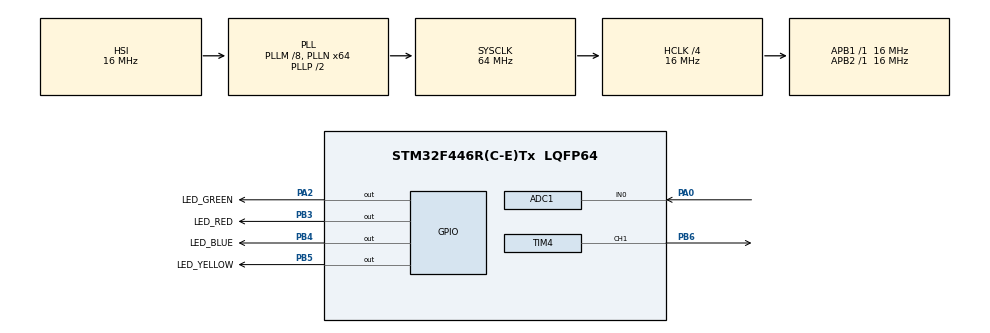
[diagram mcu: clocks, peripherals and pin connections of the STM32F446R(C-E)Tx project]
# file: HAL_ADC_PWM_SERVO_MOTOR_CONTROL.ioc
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ADC1.Channel-0\#ChannelRegularConversion=ADC_CHANNEL_0
ADC1.ContinuousConvMode=ENABLE
ADC1.NbrOfConversionFlag=1
ADC1.Rank-0\#ChannelRegularConversion=1
ADC1.Resolution=ADC_RESOLUTION_10B
ADC1.SamplingTime-0\#ChannelRegularConversion=ADC_SAMPLETIME_144CYCLES
ADC1.master=1
Mcu.Family=STM32F4
Mcu.Name=STM32F446R(C-E)Tx
Mcu.Package=LQFP64
NVIC.ADC_IRQn=true\:0\:0\:false\:false\:true\:true\:true
NVIC.PriorityGroup=NVIC_PRIORITYGROUP_4
PA0-WKUP.Signal=ADCx_IN0
PA2.GPIO_Label=LED_GREEN
PA2.Signal=GPIO_Output
PB3.GPIO_Label=LED_RED
PB3.Signal=GPIO_Output
PB4.GPIO_Label=LED_BLUE
PB4.Signal=GPIO_Output
PB5.GPIO_Label=LED_YELLOW
PB5.Signal=GPIO_Output
PB6.Signal=S_TIM4_CH1
PC14-OSC32_IN.Mode=LSE-External-Oscillator
PC14-OSC32_IN.Signal=RCC_OSC32_IN
PC15-OSC32_OUT.Mode=LSE-External-Oscillator
PC15-OSC32_OUT.Signal=RCC_OSC32_OUT
ProjectManager.HeapSize=0x200
ProjectManager.StackSize=0x400
ProjectManager.TargetToolchain=MDK-ARM V5
RCC.AHBCLKDivider=RCC_SYSCLK_DIV4
RCC.AHBFreq_Value=16000000
RCC.APB1Freq_Value=16000000
RCC.APB1TimFreq_Value=16000000
RCC.APB2Freq_Value=16000000
RCC.APB2TimFreq_Value=16000000
RCC.CortexFreq_Value=16000000
RCC.HCLKFreq_Value=16000000
RCC.PLLM=8
RCC.PLLN=64
RCC.SYSCLKFreq_VALUE=64000000
RCC.SYSCLKSource=RCC_SYSCLKSOURCE_PLLCLK
RCC.USBFreq_Value=64000000
RCC.VCOOutputFreq_Value=128000000
SH.ADCx_IN0.0=ADC1_IN0,IN0
SH.S_TIM4_CH1.0=TIM4_CH1,PWM Generation1 CH1
TIM4.Channel-PWM\ Generation1\ CH1=TIM_CHANNEL_1
TIM4.Period=1799
TIM4.Prescaler=178
TIM4.Pulse-PWM\ Generation1\ CH1=0
VP_TIM4_VS_ClockSourceINT.Mode=Internal
board=custom

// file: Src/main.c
/* USER CODE BEGIN Header */
/**
  ******************************************************************************
  * @file           : main.c
  * @brief          : Main program body
  ******************************************************************************
  * @attention
  *
  * <h2><center>&copy; Copyright (c) 2020 STMicroelectronics.
  * All rights reserved.</center></h2>
  *
  * This software component is licensed by ST under BSD 3-Clause license,
  * the "License"; You may not use this file except in compliance with the
  * License. You may obtain a copy of the License at:
  *                        opensource.org/licenses/BSD-3-Clause
  *
  ******************************************************************************
  */
/* USER CODE END Header */

#include "main.h"

ADC_HandleTypeDef hadc1;

TIM_HandleTypeDef htim4;

/* USER CODE BEGIN PV */
	uint16_t	adc_value	=	0	,	duty_cycle	=	0	,	angle	=	0	;
/* USER CODE END PV */

void SystemClock_Config(void);
static void MX_GPIO_Init(void);
static void MX_TIM4_Init(void);
static void MX_ADC1_Init(void);
/* USER CODE BEGIN PFP */

	uint32_t	map	(long	DATA	,	long	DATA_min	,	long	DATA_max	,	long	New_DATA_min	,	long	New_DATA_max	)		//	Map function

	{
		return	((DATA-DATA_min)*(New_DATA_max-New_DATA_min))/(DATA_max-DATA_min)	+	New_DATA_min	;

	}

	void con_angle()

	{
		angle	=	map(adc_value	,	0	,1023	,	0	,	180	)	;
		if(angle>180)
			angle=180	;

		angle	+=	45	;

	}

	void HAL_ADC_ConvCpltCallback(ADC_HandleTypeDef* hadc)
	{
		if(__HAL_ADC_GET_FLAG(&hadc1,ADC_FLAG_EOC)	!=	RESET	)

		{
			adc_value	=	HAL_ADC_GetValue(&hadc1)	;

		}

	}

/* USER CODE END PFP */

int main(void)
{

  /* MCU Configuration--------------------------------------------------------*/

  /* Reset of all peripherals, Initializes the Flash interface and the Systick. */
  HAL_Init();

  /* Configure the system clock */
  SystemClock_Config();

  /* Initialize all configured peripherals */
  MX_GPIO_Init();
  MX_TIM4_Init();
  MX_ADC1_Init();
  /* USER CODE BEGIN 2 */
	HAL_TIM_PWM_Start(&htim4,TIM_CHANNEL_1)	;
	HAL_ADC_Start_IT(&hadc1)	;

  /* USER CODE END 2 */

  /* Infinite loop */
  /* USER CODE BEGIN WHILE */
  while (1)
  {
				con_angle()	;

				duty_cycle	=	angle	;

				__HAL_TIM_SetCompare(&htim4,TIM_CHANNEL_1,duty_cycle)	;

				HAL_Delay(10)	;

    /* USER CODE END WHILE */

  }
}

void SystemClock_Config(void)
{
  RCC_OscInitTypeDef RCC_OscInitStruct = {0};
  RCC_ClkInitTypeDef RCC_ClkInitStruct = {0};

  /** Configure the main internal regulator output voltage
  */
  __HAL_RCC_PWR_CLK_ENABLE();
  __HAL_PWR_VOLTAGESCALING_CONFIG(PWR_REGULATOR_VOLTAGE_SCALE3);
  /** Initializes the CPU, AHB and APB busses clocks
  */
  RCC_OscInitStruct.OscillatorType = RCC_OSCILLATORTYPE_HSI;
  RCC_OscInitStruct.HSIState = RCC_HSI_ON;
  RCC_OscInitStruct.HSICalibrationValue = RCC_HSICALIBRATION_DEFAULT;
  RCC_OscInitStruct.PLL.PLLState = RCC_PLL_ON;
  RCC_OscInitStruct.PLL.PLLSource = RCC_PLLSOURCE_HSI;
  RCC_OscInitStruct.PLL.PLLM = 8;
  RCC_OscInitStruct.PLL.PLLN = 64;
  RCC_OscInitStruct.PLL.PLLP = RCC_PLLP_DIV2;
  RCC_OscInitStruct.PLL.PLLQ = 2;
  RCC_OscInitStruct.PLL.PLLR = 2;
  if (HAL_RCC_OscConfig(&RCC_OscInitStruct) != HAL_OK)
  {
    Error_Handler();
  }
  /** Initializes the CPU, AHB and APB busses clocks
  */
  RCC_ClkInitStruct.ClockType = RCC_CLOCKTYPE_HCLK|RCC_CLOCKTYPE_SYSCLK
                              |RCC_CLOCKTYPE_PCLK1|RCC_CLOCKTYPE_PCLK2;
  RCC_ClkInitStruct.SYSCLKSource = RCC_SYSCLKSOURCE_PLLCLK;
  RCC_ClkInitStruct.AHBCLKDivider = RCC_SYSCLK_DIV4;
  RCC_ClkInitStruct.APB1CLKDivider = RCC_HCLK_DIV1;
  RCC_ClkInitStruct.APB2CLKDivider = RCC_HCLK_DIV1;

  if (HAL_RCC_ClockConfig(&RCC_ClkInitStruct, FLASH_LATENCY_0) != HAL_OK)
  {
    Error_Handler();
  }
}

static void MX_ADC1_Init(void)
{

  ADC_ChannelConfTypeDef sConfig = {0};

  /** Configure the global features of the ADC (Clock, Resolution, Data Alignment and number of conversion)
  */
  hadc1.Instance = ADC1;
  hadc1.Init.ClockPrescaler = ADC_CLOCK_SYNC_PCLK_DIV2;
  hadc1.Init.Resolution = ADC_RESOLUTION_10B;
  hadc1.Init.ScanConvMode = DISABLE;
  hadc1.Init.ContinuousConvMode = ENABLE;
  hadc1.Init.DiscontinuousConvMode = DISABLE;
  hadc1.Init.ExternalTrigConvEdge = ADC_EXTERNALTRIGCONVEDGE_NONE;
  hadc1.Init.ExternalTrigConv = ADC_SOFTWARE_START;
  hadc1.Init.DataAlign = ADC_DATAALIGN_RIGHT;
  hadc1.Init.NbrOfConversion = 1;
  hadc1.Init.DMAContinuousRequests = DISABLE;
  hadc1.Init.EOCSelection = ADC_EOC_SINGLE_CONV;
  if (HAL_ADC_Init(&hadc1) != HAL_OK)
  {
    Error_Handler();
  }
  /** Configure for the selected ADC regular channel its corresponding rank in the sequencer and its sample time.
  */
  sConfig.Channel = ADC_CHANNEL_0;
  sConfig.Rank = 1;
  sConfig.SamplingTime = ADC_SAMPLETIME_144CYCLES;
  if (HAL_ADC_ConfigChannel(&hadc1, &sConfig) != HAL_OK)
  {
    Error_Handler();
  }

}

static void MX_TIM4_Init(void)
{

  TIM_ClockConfigTypeDef sClockSourceConfig = {0};
  TIM_MasterConfigTypeDef sMasterConfig = {0};
  TIM_OC_InitTypeDef sConfigOC = {0};

  htim4.Instance = TIM4;
  htim4.Init.Prescaler = 178;
  htim4.Init.CounterMode = TIM_COUNTERMODE_UP;
  htim4.Init.Period = 1799;
  htim4.Init.ClockDivision = TIM_CLOCKDIVISION_DIV1;
  htim4.Init.AutoReloadPreload = TIM_AUTORELOAD_PRELOAD_DISABLE;
  if (HAL_TIM_Base_Init(&htim4) != HAL_OK)
  {
    Error_Handler();
  }
  sClockSourceConfig.ClockSource = TIM_CLOCKSOURCE_INTERNAL;
  if (HAL_TIM_ConfigClockSource(&htim4, &sClockSourceConfig) != HAL_OK)
  {
    Error_Handler();
  }
  if (HAL_TIM_PWM_Init(&htim4) != HAL_OK)
  {
    Error_Handler();
  }
  sMasterConfig.MasterOutputTrigger = TIM_TRGO_RESET;
  sMasterConfig.MasterSlaveMode = TIM_MASTERSLAVEMODE_DISABLE;
  if (HAL_TIMEx_MasterConfigSynchronization(&htim4, &sMasterConfig) != HAL_OK)
  {
    Error_Handler();
  }
  sConfigOC.OCMode = TIM_OCMODE_PWM1;
  sConfigOC.Pulse = 0;
  sConfigOC.OCPolarity = TIM_OCPOLARITY_HIGH;
  sConfigOC.OCFastMode = TIM_OCFAST_DISABLE;
  if (HAL_TIM_PWM_ConfigChannel(&htim4, &sConfigOC, TIM_CHANNEL_1) != HAL_OK)
  {
    Error_Handler();
  }
  HAL_TIM_MspPostInit(&htim4);

}

static void MX_GPIO_Init(void)
{
  GPIO_InitTypeDef GPIO_InitStruct = {0};

  /* GPIO Ports Clock Enable */
  __HAL_RCC_GPIOC_CLK_ENABLE();
  __HAL_RCC_GPIOA_CLK_ENABLE();
  __HAL_RCC_GPIOB_CLK_ENABLE();

  /*Configure GPIO pin Output Level */
  HAL_GPIO_WritePin(LED_GREEN_GPIO_Port, LED_GREEN_Pin, GPIO_PIN_RESET);

  /*Configure GPIO pin Output Level */
  HAL_GPIO_WritePin(GPIOB, LED_RED_Pin|LED_BLUE_Pin|LED_YELLOW_Pin, GPIO_PIN_RESET);

  /*Configure GPIO pin : LED_GREEN_Pin */
  GPIO_InitStruct.Pin = LED_GREEN_Pin;
  GPIO_InitStruct.Mode = GPIO_MODE_OUTPUT_PP;
  GPIO_InitStruct.Pull = GPIO_NOPULL;
  GPIO_InitStruct.Speed = GPIO_SPEED_FREQ_LOW;
  HAL_GPIO_Init(LED_GREEN_GPIO_Port, &GPIO_InitStruct);

  /*Configure GPIO pins : LED_RED_Pin LED_BLUE_Pin LED_YELLOW_Pin */
  GPIO_InitStruct.Pin = LED_RED_Pin|LED_BLUE_Pin|LED_YELLOW_Pin;
  GPIO_InitStruct.Mode = GPIO_MODE_OUTPUT_PP;
  GPIO_InitStruct.Pull = GPIO_NOPULL;
  GPIO_InitStruct.Speed = GPIO_SPEED_FREQ_LOW;
  HAL_GPIO_Init(GPIOB, &GPIO_InitStruct);

}

void Error_Handler(void)
{
}

/************************ (C) COPYRIGHT STMicroelectronics *****END OF FILE****/
